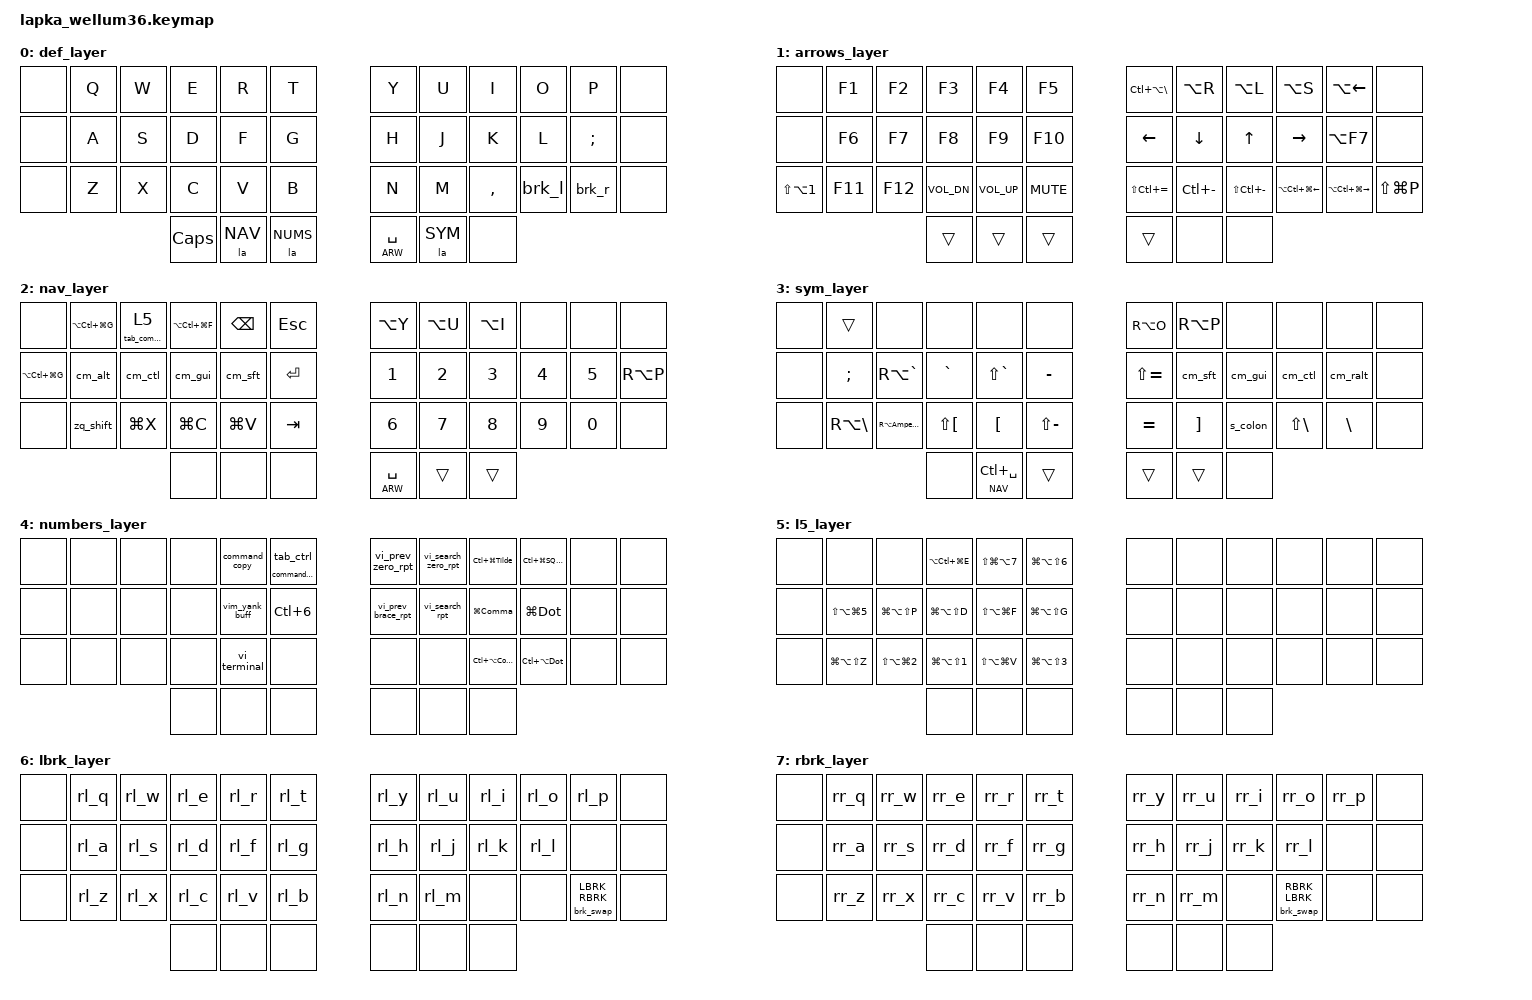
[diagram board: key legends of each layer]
#include <behaviors.dtsi>
#include <dt-bindings/zmk/outputs.h>
#include <dt-bindings/zmk/keys.h>
#include <dt-bindings/zmk/bt.h>

#include <dt-bindings/zmk/ext_power.h>

#define _ &kp
#define ___ &none
#define ______ &trans

#define DEF 0
#define ARW 1
#define NAV 2
#define SYM 3
#define NUMS 4
#define L5  5
#define LBRK 6
#define RBRK 7

#define MEH(key) LS(LC(LA(key)))

// Universal Layout bindings

#define SQuot     GRAVE
#define DQuot     LS(GRAVE)
#define Grave     RA(GRAVE)
#define Pipe      LS(BSLH)
#define Backslash RA(BSLH)
#define Nbsp      RA(SPACE)
#define Comma     LBKT
#define Semicolon LS(LBKT)
#define Dot       RBKT
#define Colon     LS(RBKT)
#define Minus     MINUS
#define Under     LS(MINUS)
#define Equal     EQUAL
#define Plus      LS(EQUAL)
#define Slash     BSLH
#define LBracket  DOT
#define LBrace    LS(DOT)
#define RBracket  FSLH
#define RBrace    LS(FSLH)
#define Ampersand COMMA
#define Tilde     SEMI

// Media keys rebinds
#define VOL_U C_VOL_UP
#define VOL_D C_VOL_DN
#define T_PRV C_PREV
#define T_NXT C_NEXT
#define T_PP  C_PP

// Window Management mapping
#define NextSpace LC(LG(RIGHT))
#define PrevSpace LC(LG(LEFT))

// Bluetooth profiles mapping
#define BT_1      &bt BT_SEL 0
#define BT_2      &bt BT_SEL 1
#define BT_3      &bt BT_SEL 2
#define BT_Clear  &bt BT_CLR_ALL
#define BT_Toggle &out OUT_TOG

// custom implementation of modified callum-mods,
// which can be released on second keypress
// and also work with swapper and/or tabber

#define PARAM_1 0
#define PARAM_2 0

#define MACRO(NAME, COMPATIBLE, BINDING_CELLS, BINDINGS) \
    NAME: NAME { \
        compatible = COMPATIBLE; \
        #binding-cells = <BINDING_CELLS>; \
        wait-ms = <0>; \
        tap-ms = <0>; \
        bindings = \
            <BINDINGS>; \
    };

#define MACRO_NO_PARAM(NAME, BINDINGS)  MACRO(NAME, "zmk,behavior-macro"          , 0, BINDINGS)
#define MACRO_ONE_PARAM(NAME, BINDINGS) MACRO(NAME, "zmk,behavior-macro-one-param", 1, BINDINGS)
#define MACRO_TWO_PARAM(NAME, BINDINGS) MACRO(NAME, "zmk,behavior-macro-two-param", 2, BINDINGS)

#define MAX_TIMER __UINT32_MAX__ // around 50 days

#define STICKY_FOREVER(NAME, BIND) \
    NAME: NAME { \
        compatible = "zmk,behavior-sticky-key"; \
        #binding-cells = <1>; \
        bindings = <BIND>; \
        release-after-ms = <MAX_TIMER>; \
        ignore-modifiers; \
    };

#define MODMORPH(NAME, NORMAL, MORPHED, MODS, KEEP_MODS) \
    NAME: NAME { \
        compatible = "zmk,behavior-mod-morph"; \
        #binding-cells = <0>; \
        bindings = <NORMAL>, <MORPHED>; \
        mods = <(MODS)>; \
        keep-mods = <(KEEP_MODS)>; \
    };

// firmware auto-repeat: taps BIND once on press, then every tap-ms after a
// wait-ms grace period. a quick tap therefore still fires exactly once.
#define TAP_REPEAT(NAME, BIND) \
    NAME: NAME { \
        compatible = "zmk,behavior-tap-repeat"; \
        #binding-cells = <0>; \
        bindings = <BIND>; \
        wait-ms = <250>; \
        tap-ms = <100>; \
    };

&sk {
        release-after-ms = <60000>;
};

/ {
    behaviors {
        MACRO_ONE_PARAM(
            m_release_key_twice,
            &macro_release
                &macro_param_1to1 &kp PARAM_1
                &macro_param_1to1 &kp PARAM_1
        )


        MACRO_ONE_PARAM(
            m_press_key_twice,
            &macro_press
                &macro_param_1to1 &kp PARAM_1
                &macro_param_1to1 &kp PARAM_1
            &macro_pause_for_release
            &macro_tap
                &m_release_key_twice PARAM_1
        )

        STICKY_FOREVER(sticky_forever, &m_press_key_twice)

        MODMORPH(
            cm_gui,
            &sticky_forever LGUI,
            &m_release_key_twice LGUI,
            MOD_LGUI,
            MOD_LGUI
        )

        MODMORPH(
            cm_alt,
            &sticky_forever LALT,
            &m_release_key_twice LALT,
            MOD_LALT,
            MOD_LALT
        )

        MODMORPH(
            cm_ralt,
            &sticky_forever RALT,
            &m_release_key_twice RALT,
            MOD_RALT,
            MOD_RALT
        )

        MODMORPH(
            cm_ctl,
            &sticky_forever LCTRL,
            &m_release_key_twice LCTRL,
            MOD_LCTL,
            MOD_LCTL
        )

        MODMORPH(
            cm_sft,
            &sticky_forever LSHIFT,
            &m_release_key_twice LSHIFT,
            MOD_LSFT,
            MOD_LSFT
        )

        MODMORPH(nav_1, &kp LS(N1), &kp N1, (MOD_LSFT | MOD_RSFT), 0)
        MODMORPH(nav_2, &kp LS(N2), &kp N2, (MOD_LSFT | MOD_RSFT), 0)
        MODMORPH(nav_3, &kp LS(N3), &kp N3, (MOD_LSFT | MOD_RSFT), 0)
        MODMORPH(nav_4, &kp LS(N4), &kp N4, (MOD_LSFT | MOD_RSFT), 0)
        MODMORPH(nav_5, &kp LS(N5), &kp N5, (MOD_LSFT | MOD_RSFT), 0)
        MODMORPH(nav_6, &kp LS(N6), &kp N6, (MOD_LSFT | MOD_RSFT), 0)
        MODMORPH(nav_7, &kp LS(N7), &kp N7, (MOD_LSFT | MOD_RSFT), 0)
        MODMORPH(nav_8, &kp LS(N8), &kp N8, (MOD_LSFT | MOD_RSFT), 0)
        MODMORPH(nav_9, &kp LS(N9), &kp N9, (MOD_LSFT | MOD_RSFT), 0)
        MODMORPH(nav_0, &kp LS(N0), &kp N0, (MOD_LSFT | MOD_RSFT), 0)

        MACRO_TWO_PARAM(
            m_hold_mod_press_key,
            &macro_press
                &macro_param_1to1 &kp PARAM_1
            &macro_tap
                &macro_param_2to1 &kp PARAM_2
        )

        MODMORPH(
            swap_ctrl,
            &m_hold_mod_press_key LCTRL TAB,
            &kp TAB,
            MOD_LCTL,
            MOD_LCTL
        )

        MODMORPH(
            swap_lalt,
            &m_hold_mod_press_key LALT TAB,
            &kp TAB,
            MOD_LALT,
            MOD_LALT
        )

        MODMORPH(
            swap_lgui,
            &m_hold_mod_press_key LGUI TAB,
            &kp TAB,
            MOD_LGUI,
            MOD_LGUI
        )

        MACRO_ONE_PARAM(
            la,
            &macro_tap
                &kp 0 // do nothing, fire all sticky keys
            &macro_press
                &macro_param_1to1 &mo PARAM_1
            &macro_pause_for_release
            &macro_release
                &macro_param_1to1 &mo PARAM_1
                &kp LSHFT
                &kp LCTRL
                &kp LALT
                &kp LGUI
        )

        // explicit layer-off, so a bracket can extinguish the prefix layer it
        // came from. toggle-mode "off" (not the default "flip") keeps this
        // idempotent if the layer is somehow already down.
        lay_off: lay_off {
            compatible = "zmk,behavior-toggle-layer";
            #binding-cells = <1>;
            toggle-mode = "off";
        };

        // cross-switch between the two prefix layers: leave PARAM_1, hold
        // PARAM_2. killing the source layer is what makes this work in both
        // directions -- ZMK picks the binding from the highest active layer
        // (zmk_keymap_position_state_changed), so plain &mo could only ever
        // climb upwards and the chain died after two hops.
        MACRO_TWO_PARAM(
            brk_swap,
            &macro_param_1to1 &lay_off PARAM_1
            &macro_press
                &macro_param_2to1 &mo PARAM_2
            &macro_pause_for_release
            &macro_release
                &macro_param_2to1 &mo PARAM_2
        )

        // bracket-prefix macros: tap the bracket, then the letter passed as param.
        // used by the LBRK / RBRK layers to build vim motions like ]m, [c, ]b.
        MACRO_ONE_PARAM(
            m_lbrk,
            &kp LBracket
                &macro_param_1to1 &kp PARAM_1
        )

        MACRO_ONE_PARAM(
            m_rbrk,
            &kp RBracket
                &macro_param_1to1 &kp PARAM_1
        )

        // hold a letter here to auto-repeat the [ pair
        TAP_REPEAT(rl_q, &m_lbrk Q)
        TAP_REPEAT(rl_w, &m_lbrk W)
        TAP_REPEAT(rl_e, &m_lbrk E)
        TAP_REPEAT(rl_r, &m_lbrk R)
        TAP_REPEAT(rl_t, &m_lbrk T)
        TAP_REPEAT(rl_y, &m_lbrk Y)
        TAP_REPEAT(rl_u, &m_lbrk U)
        TAP_REPEAT(rl_i, &m_lbrk I)
        TAP_REPEAT(rl_o, &m_lbrk O)
        TAP_REPEAT(rl_p, &m_lbrk P)
        TAP_REPEAT(rl_a, &m_lbrk A)
        TAP_REPEAT(rl_s, &m_lbrk S)
        TAP_REPEAT(rl_d, &m_lbrk D)
        TAP_REPEAT(rl_f, &m_lbrk F)
        TAP_REPEAT(rl_g, &m_lbrk G)
        TAP_REPEAT(rl_h, &m_lbrk H)
        TAP_REPEAT(rl_j, &m_lbrk J)
        TAP_REPEAT(rl_k, &m_lbrk K)
        TAP_REPEAT(rl_l, &m_lbrk L)
        TAP_REPEAT(rl_z, &m_lbrk Z)
        TAP_REPEAT(rl_x, &m_lbrk X)
        TAP_REPEAT(rl_c, &m_lbrk C)
        TAP_REPEAT(rl_v, &m_lbrk V)
        TAP_REPEAT(rl_b, &m_lbrk B)
        TAP_REPEAT(rl_n, &m_lbrk N)
        TAP_REPEAT(rl_m, &m_lbrk M)

        // hold a letter here to auto-repeat the ] pair
        TAP_REPEAT(rr_q, &m_rbrk Q)
        TAP_REPEAT(rr_w, &m_rbrk W)
        TAP_REPEAT(rr_e, &m_rbrk E)
        TAP_REPEAT(rr_r, &m_rbrk R)
        TAP_REPEAT(rr_t, &m_rbrk T)
        TAP_REPEAT(rr_y, &m_rbrk Y)
        TAP_REPEAT(rr_u, &m_rbrk U)
        TAP_REPEAT(rr_i, &m_rbrk I)
        TAP_REPEAT(rr_o, &m_rbrk O)
        TAP_REPEAT(rr_p, &m_rbrk P)
        TAP_REPEAT(rr_a, &m_rbrk A)
        TAP_REPEAT(rr_s, &m_rbrk S)
        TAP_REPEAT(rr_d, &m_rbrk D)
        TAP_REPEAT(rr_f, &m_rbrk F)
        TAP_REPEAT(rr_g, &m_rbrk G)
        TAP_REPEAT(rr_h, &m_rbrk H)
        TAP_REPEAT(rr_j, &m_rbrk J)
        TAP_REPEAT(rr_k, &m_rbrk K)
        TAP_REPEAT(rr_l, &m_rbrk L)
        TAP_REPEAT(rr_z, &m_rbrk Z)
        TAP_REPEAT(rr_x, &m_rbrk X)
        TAP_REPEAT(rr_c, &m_rbrk C)
        TAP_REPEAT(rr_v, &m_rbrk V)
        TAP_REPEAT(rr_b, &m_rbrk B)
        TAP_REPEAT(rr_n, &m_rbrk N)
        TAP_REPEAT(rr_m, &m_rbrk M)

        // shifted symbols as an instant tap: a held LS(x) keeps its implicit
        // shift until the next key press, and that release lands in the same
        // HID report as the new key. macOS applies it after the key, so a
        // rolled ":q" came out as ":Q". tapping keeps shift out of the overlap.
        TAP_REPEAT(s_colon, &kp Colon)

        tab_command: tab_command {
            compatible = "zmk,behavior-macro";
            #binding-cells = <0>;
            bindings =
                <&macro_tap>,
                <&kp LG(TAB)>,
                <&macro_press>,
                <&macro_pause_for_release>,
                <&macro_release>;
        };

        sl1000: sl1000 {
            compatible = "zmk,behavior-sticky-key";
            bindings = <&mo>;
            #binding-cells = <1>;
            release-after-ms = <1000>;
        };

        tab_command_tab: tab_command_tab {
            compatible = "zmk,behavior-hold-tap";
            bindings = <&tab_command>, <&sl1000>;
            #binding-cells = <2>;
            tapping-term-ms = <200>;
            flavor = "tap-preferred";
        };

        vim_yank_buff: vim_yank_buff {
            compatible = "zmk,behavior-macro";
            #binding-cells = <0>;
            bindings =
                <&macro_tap>,
                <&kp DQuot &kp PLUS &kp Y>,
                <&macro_press>,
                <&macro_pause_for_release>,
                <&macro_release>;
        };

        command_copy: command_copy {
            compatible = "zmk,behavior-macro";
            #binding-cells = <0>;
            bindings = <&kp Colon &kp N5 &kp Y &kp PLUS &kp ENTER>;
        };

        tt_key_cast: tt_key_cast {
            compatible = "zmk,behavior-macro";
            #binding-cells = <0>;
            bindings = <&kp LC(SPACE) &kp Z &kp LC(SPACE) &kp J &kp LG(N1)>;
        };

        zq_shift: zq_shift {
            compatible = "zmk,behavior-macro";
            #binding-cells = <0>;
            bindings = <&kp LS(Z) &kp LS(Q)>;
        };

        vi_terminal: vi_terminal {
            compatible = "zmk,behavior-macro";
            #binding-cells = <0>;
            bindings =
                <&macro_press>,
                <&kp LCTRL>,
                <&macro_tap>,
                <&kp SPACE>,
                <&macro_release>,
                <&kp LCTRL>,
                <&macro_tap>,
                <&kp ENTER &kp V>;
        };






        vi_prev_brace_method: vi_prev_brace_method {
            compatible = "zmk,behavior-macro";
            #binding-cells = <0>;
            bindings = <&kp LBracket &kp LBrace>;
        };

        vi_next_brace_method: vi_next_brace_method {
            compatible = "zmk,behavior-macro";
            #binding-cells = <0>;
            bindings = <&kp RBracket &kp RBrace>;
        };

        vi_prev_brace_rpt: vi_prev_brace_rpt {
            compatible = "zmk,behavior-tap-repeat";
            #binding-cells = <0>;
            bindings = <&vi_prev_brace_method>;
            wait-ms = <250>;
            tap-ms = <100>;
        };

        vi_next_brace_rpt: vi_next_brace_rpt {
            compatible = "zmk,behavior-tap-repeat";
            #binding-cells = <0>;
            bindings = <&vi_next_brace_method>;
            wait-ms = <250>;
            tap-ms = <100>;
        };

        vi_search_method: vi_search_method {
            compatible = "zmk,behavior-macro";
            #binding-cells = <0>;
            wait-ms = <0>;
            tap-ms = <0>;
            bindings = <&kp ESC &kp Slash &kp LBrace &kp ENTER &kp LC(L) &kp LS(V)>;
        };

        vi_search_rpt: vi_search_rpt {
            compatible = "zmk,behavior-tap-repeat";
            #binding-cells = <0>;
            bindings = <&vi_search_method>;
            wait-ms = <250>;
            tap-ms = <100>;
        };

        vi_prev_zero_method: vi_prev_zero_method {
            compatible = "zmk,behavior-macro";
            #binding-cells = <0>;
            wait-ms = <0>;
            tap-ms = <0>;
            bindings = <&kp ESC &kp N7 &kp N9 &kp ENTER &kp LC(L) &kp LS(V)>;
        };

        vi_prev_zero_rpt: vi_prev_zero_rpt {
            compatible = "zmk,behavior-tap-repeat";
            #binding-cells = <0>;
            bindings = <&vi_prev_zero_method>;
            wait-ms = <150>;
            tap-ms = <50>;
        };

        vi_search_zero_method: vi_search_zero_method {
            compatible = "zmk,behavior-macro";
            #binding-cells = <0>;
            wait-ms = <0>;
            tap-ms = <0>;
            bindings = <&kp ESC &kp Slash &kp N0 &kp ENTER &kp LC(L) &kp LS(V)>;
        };

        vi_search_zero_rpt: vi_search_zero_rpt {
            compatible = "zmk,behavior-tap-repeat";
            #binding-cells = <0>;
            bindings = <&vi_search_zero_method>;
            wait-ms = <150>;
            tap-ms = <50>;
        };

        tab_ctrl: tab_ctrl {
            compatible = "zmk,behavior-macro";
            #binding-cells = <0>;
            bindings =
                <&macro_tap>,
                <&kp LC(TAB)>,
                <&macro_press>,
                <&macro_pause_for_release>,
                <&macro_release>;
        };

        command_grave: command_grave {
            compatible = "zmk,behavior-macro";
            #binding-cells = <0>;
            bindings =
                <&macro_tap>,
                <&kp LG(GRAVE)>,
                <&macro_press>,
                <&macro_pause_for_release>,
                <&macro_release>;
        };

        command_grave_command: command_grave_command {
            compatible = "zmk,behavior-hold-tap";
            bindings = <&command_grave>, <&tab_ctrl>;
            #binding-cells = <2>;
            tapping-term-ms = <200>;
            flavor = "tap-preferred";
        };

        lt_la_tui: lt_la_tui {
            compatible = "zmk,behavior-hold-tap";
            bindings = <&la>, <&kp>;
            #binding-cells = <2>;
            tapping-term-ms = <60000>;
            flavor = "hold-preferred";
        };

        mt_alt_retro: mt_alt_retro {
            compatible = "zmk,behavior-hold-tap";
            bindings = <&kp>, <&kp>;
            #binding-cells = <2>;
            tapping-term-ms = <200>;
            flavor = "hold-preferred";
            retro-tap;
        };

        lt_tap_prefer_release: lt_tap_prefer_release {
            compatible = "zmk,behavior-hold-tap";
            bindings = <&mo>, <&kp>;
            #binding-cells = <2>;
            tapping-term-ms = <200>;
            flavor = "tap-preferred";
            retro-tap;
        };

        // tap = the bracket itself, hold = its prefix layer.
        // tap-preferred so that rolling `[abc` while typing code stays literal:
        // the hold only wins if the bracket is still down after tapping-term.
        // hold-binding is &la (not &mo) so pending sticky callum-mods are fired
        // before entering the layer and cleared on exit.
        brk: brk {
            compatible = "zmk,behavior-hold-tap";
            bindings = <&la>, <&kp>;
            #binding-cells = <2>;
            tapping-term-ms = <200>;
            flavor = "tap-preferred";
            retro-tap;
        };

        // with shift down the bracket stops being a layer key and becomes a plain
        // keypress, so holding it gives the OS its own auto-repeat: }}}}}}.
        // keep-mods keeps the shift applied, so ] morphs to } rather than ].
        MODMORPH(
            brk_l,
            &brk LBRK LBracket,
            &kp LBracket,
            (MOD_LSFT | MOD_RSFT),
            (MOD_LSFT | MOD_RSFT)
        )

        MODMORPH(
            brk_r,
            &brk RBRK RBracket,
            &kp RBracket,
            (MOD_LSFT | MOD_RSFT),
            (MOD_LSFT | MOD_RSFT)
        )

    };

};

/ {
    keymap {
        compatible = "zmk,keymap";

        def_layer {
            bindings = <
___         _ Q         _ W         _ E         _ R         _ T         _ Y         _ U         _ I         _ O         _ P         ___
___         _ A         _ S         _ D         _ F         _ G         _ H         _ J         _ K         _ L         _ Tilde     ___
___         _ Z         _ X         _ C         _ V         _ B         _ N         _ M         _ Ampersand &brk_l      &brk_r      ___
                                                _ CAPS     &la NAV    &la NUMS        &lt_tap_prefer_release ARW SPACE &la SYM ___
            >;
        };

        arrows_layer {
            bindings = <
___         _ F1        _ F2        _ F3        _ F4        _ F5        _ LC(LA(BSLH)) _ LA(R)     _ LA(L)     _ LA(S)     _ LA(LEFT_ARROW)        ___
___         _ F6        _ F7        _ F8        _ F9        _ F10       _ LEFT      _ DOWN      _ UP        _ RIGHT     _ LA(F7)                ___
_ LS(LA(N1)) _ F11      _ F12       _ C_VOL_DN  _ C_VOL_UP  _ C_MUTE    _ LS(LC(EQUAL)) _ LC(MINUS) _ LS(LC(MINUS)) _ LA(LC(LG(LEFT))) _ LA(LC(LG(RIGHT))) _ LS(LG(P))
                                            ______    ______     ______   ______      ___         ___
            >;
        };

        nav_layer {
            bindings = <
___         _ LA(LC(LG(G)))  &tab_command_tab 0 L5  _ LA(LC(LG(F)))  _ BSPC      _ ESC       _ LA(Y) _ LA(U)  _ LA(I)         ___       ___         ___
_ LA(LC(LG(G)))         &cm_alt     &cm_ctl              &cm_gui      &cm_sft      _ RET       _ N1    _ N2    _ N3    _ N4    _ N5    _ RA(P)
___         &zq_shift   _ LG(X)              _ LG(C)          _ LG(V)   _ TAB          _ N6    _ N7    _ N8    _ N9    _ N0    ___
                                            ___     ___               ___        &lt_tap_prefer_release ARW SPACE ______ ______
            >;
        };

        sym_layer {
            bindings = <
___         ______        ___        ___        ___        ___        _ RA(O)       _ RA(P)        ___        ___        ___        ___
___         _ Tilde     _ Grave     _ SQuot     _ DQuot     _ Minus     _ Plus      &cm_sft     &cm_gui     &cm_ctl     &cm_ralt    ___
___         _ Backslash _ RA(Ampersand) _ Semicolon _ Comma     _ Under     _ Equal     _ Dot       &s_colon    _ Pipe      _ Slash     ___
                        ___               &lt_la_tui NAV LC(SPACE)     ______       ______      ______      ___
            >;
        };

        numbers_layer {
            bindings = <
___         ___  ___  ___  &command_copy &command_grave_command 0 0  &vi_prev_zero_rpt &vi_search_zero_rpt    _ LC(LG(Tilde))          _ LC(LG(SQuot))       ___       ___
___         ___     ___     ___     &vim_yank_buff  _ LC(N6)     &vi_prev_brace_rpt &vi_search_rpt        _ LG(Comma) _ LG(Dot)  ___        ___
___         ___         ___         ___         &vi_terminal   ___       ___          ___   _ LC(LA(Comma)) _ LC(LA(Dot)) ___ ___
                                    ___      ___         ___         ___ ___ ___
            >;
        };

        l5_layer {
            bindings = <
___         ___              ___ _ LA(LC(LG(E)))  _ LS(LG(LA(N7)))             _ LG(LA(LS(N6)))              ___         ___         ___         ___  ___              ___
___         _ LS(LA(LG(N5))) _ LG(LA(LS(P)))  _ LG(LA(LS(D)))  _ LS(LA(LG(F))) _ LG(LA(LS(G)))  ___    ___    ___ ___ ___       ___
___         _ LG(LA(LS(Z)))  _ LS(LA(LG(N2))) _ LG(LA(LS(N1))) _ LS(LA(LG(V))) _ LG(LA(LS(N3))) ___    ___    ___ ___ ___       ___
                                              ___              ___             ___              ___         ___         ___
            >;
        };

        lbrk_layer {
            bindings = <
___         &rl_q       &rl_w       &rl_e       &rl_r       &rl_t       &rl_y       &rl_u       &rl_i       &rl_o       &rl_p       ___
___         &rl_a       &rl_s       &rl_d       &rl_f       &rl_g       &rl_h       &rl_j       &rl_k       &rl_l       ___         ___
___         &rl_z       &rl_x       &rl_c       &rl_v       &rl_b       &rl_n       &rl_m       ___         ___    &brk_swap LBRK RBRK ___
                                                ___         ___         ___         ___         ___         ___
            >;
        };

        rbrk_layer {
            bindings = <
___         &rr_q       &rr_w       &rr_e       &rr_r       &rr_t       &rr_y       &rr_u       &rr_i       &rr_o       &rr_p       ___
___         &rr_a       &rr_s       &rr_d       &rr_f       &rr_g       &rr_h       &rr_j       &rr_k       &rr_l       ___         ___
___         &rr_z       &rr_x       &rr_c       &rr_v       &rr_b       &rr_n       &rr_m       ___    &brk_swap RBRK LBRK ___         ___
                                                ___         ___         ___         ___         ___         ___
            >;
        };
    };
};
